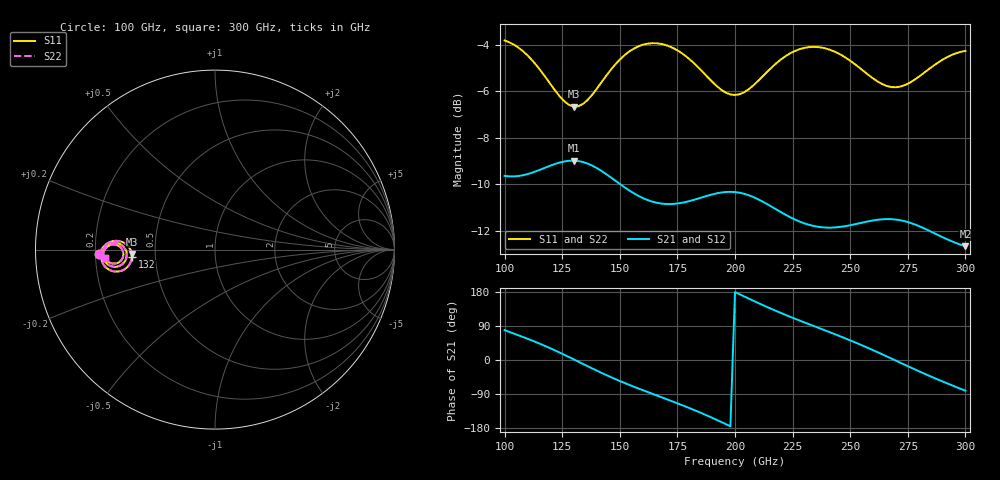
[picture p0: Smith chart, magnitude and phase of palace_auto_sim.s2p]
#  GHZ S DB R 50
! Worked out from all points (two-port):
!   101 points, 100 GHz to 300 GHz, reference 50 ohm
!   highest |S21| = -8.98 dB at 130 GHz (marker M1); lowest = -12.7 dB at 300 GHz (marker M2)
!   |S21| within 3 dB of the highest: start of sweep to 284.1 GHz
!   lowest |S11| = -6.7 dB at 130 GHz (marker M3), VSWR 2.73, Z = 18.3 - j1.16 ohm
!   |S11| at or under -10 dB: nowhere
!   |S22| runs from -6.7 to -3.8 dB; largest |S21 - S12| = 5.1e-14
!   S11 on the Smith chart (normalised r, x): 100 GHz: 0.22, -0.02; 132 GHz: 0.37, -0.04; 300 GHz: 0.24, -0.04
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100  -3.82 -177.7  -9.64 78.7  -9.64 78.7  -3.82 -177.6
116  -5.16 174.9  -9.35 41.1  -9.35 41.1  -5.16 174.9
124  -6.23 177.3  -9.06 19.3  -9.06 19.3  -6.23 177.3
130  -6.66 -176.9  -8.98 1.7  -8.98 1.7  -6.65 -176.9
132  -6.65 -174.7  -9.00 -4.3  -9.00 -4.3  -6.64 -174.6
134  -6.55 -172.5  -9.04 -10.3  -9.04 -10.3  -6.54 -172.5
142  -5.62 -167.5  -9.42 -33.8  -9.42 -33.8  -5.62 -167.4
150  -4.64 -168.3  -9.98 -55.4  -9.98 -55.4  -4.64 -168.3
160  -4.01 -173.3  -10.59 -79.7  -10.59 -79.7  -4.00 -173.2
168  -3.97 -177.9  -10.82 -98.1  -10.82 -98.1  -3.96 -177.8
184  -4.97 176.1  -10.61 -136.4  -10.61 -136.4  -4.96 176.1
192  -5.77 177.6  -10.39 -157.9  -10.39 -157.9  -5.75 177.7
200  -6.16 -176.8  -10.33 179.3  -10.33 179.3  -6.14 -176.9
208  -5.75 -171.5  -10.55 156.2  -10.55 156.2  -5.73 -171.5
216  -4.97 -170.2  -10.97 134.3  -10.97 134.3  -4.96 -170.3
224  -4.37 -172.2  -11.41 113.9  -11.41 113.9  -4.36 -172.3
234  -4.10 -176.7  -11.78 90.1  -11.78 90.1  -4.09 -176.7
252  -4.84 177.2  -11.71 46.8  -11.71 46.8  -4.83 177.2
268  -5.82 -178.1  -11.50 3.5  -11.50 3.5  -5.82 -178.2
276  -5.63 -173.8  -11.65 -19.0  -11.65 -19.0  -5.62 -173.8
284  -5.06 -172.0  -11.98 -40.9  -11.98 -40.9  -5.06 -172.0
300  -4.27 -175.7  -12.65 -81.0  -12.65 -81.0  -4.27 -175.7
